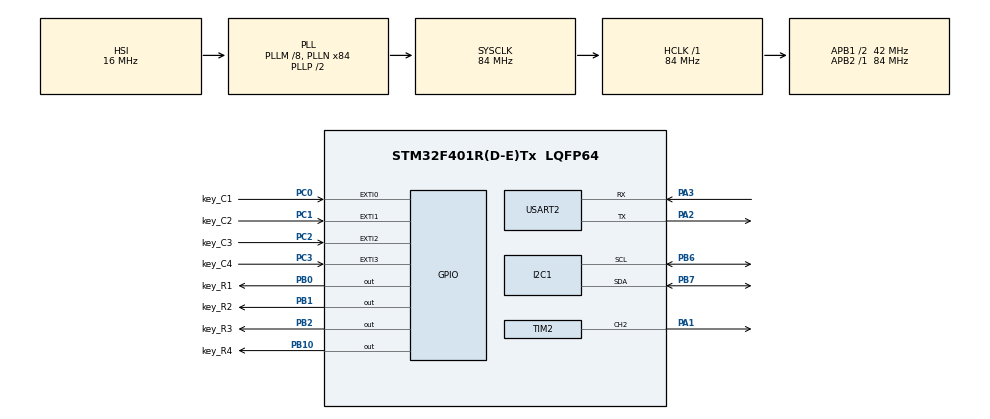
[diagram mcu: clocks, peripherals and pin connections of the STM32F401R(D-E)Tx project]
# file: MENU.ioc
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FREERTOS.BinarySemaphores01=BtnPressed,Dynamic,NULL,Depleted
FREERTOS.RecursiveMutexes01=i2cMutex,Dynamic,NULL,Available
FREERTOS.Tasks01=GetKeyTask,24,128,GetketpadTask,Default,NULL,Dynamic,NULL,NULL;rendertask,8,1024,RenderTask,Default,NULL,Dynamic,NULL,NULL
I2C1.I2C_Mode=I2C_Fast
Mcu.Family=STM32F4
Mcu.Name=STM32F401R(D-E)Tx
Mcu.Package=LQFP64
NVIC.EXTI0_IRQn=true\:5\:0\:false\:false\:true\:true\:true\:true\:true
NVIC.EXTI1_IRQn=true\:5\:0\:false\:false\:true\:true\:true\:true\:true
NVIC.EXTI2_IRQn=true\:5\:0\:false\:false\:true\:true\:true\:true\:true
NVIC.EXTI3_IRQn=true\:5\:0\:false\:false\:true\:true\:true\:true\:true
NVIC.PriorityGroup=NVIC_PRIORITYGROUP_4
PA1.Signal=S_TIM2_CH2
PA13.Mode=Serial_Wire
PA13.Signal=SYS_JTMS-SWDIO
PA14.Mode=Serial_Wire
PA14.Signal=SYS_JTCK-SWCLK
PA2.Mode=Asynchronous
PA2.Signal=USART2_TX
PA3.Mode=Asynchronous
PA3.Signal=USART2_RX
PB0.GPIO_Label=key_R1
PB0.Signal=GPIO_Output
PB1.GPIO_Label=key_R2
PB1.Signal=GPIO_Output
PB10.GPIO_Label=key_R4
PB10.Signal=GPIO_Output
PB2.GPIO_Label=key_R3
PB2.Signal=GPIO_Output
PB6.Mode=I2C
PB6.Signal=I2C1_SCL
PB7.Mode=I2C
PB7.Signal=I2C1_SDA
PC0.GPIO_Label=key_C1
PC0.GPIO_ModeDefaultEXTI=GPIO_MODE_IT_FALLING
PC0.GPIO_PuPd=GPIO_PULLUP
PC0.Signal=GPXTI0
PC1.GPIO_Label=key_C2
PC1.GPIO_ModeDefaultEXTI=GPIO_MODE_IT_FALLING
PC1.GPIO_PuPd=GPIO_PULLUP
PC1.Signal=GPXTI1
PC14-OSC32_IN.Mode=LSE-External-Oscillator
PC14-OSC32_IN.Signal=RCC_OSC32_IN
PC15-OSC32_OUT.Mode=LSE-External-Oscillator
PC15-OSC32_OUT.Signal=RCC_OSC32_OUT
PC2.GPIO_Label=key_C3
PC2.GPIO_ModeDefaultEXTI=GPIO_MODE_IT_FALLING
PC2.GPIO_PuPd=GPIO_PULLUP
PC2.Signal=GPXTI2
PC3.GPIO_Label=key_C4
PC3.GPIO_ModeDefaultEXTI=GPIO_MODE_IT_FALLING
PC3.GPIO_PuPd=GPIO_PULLUP
PC3.Signal=GPXTI3
PH0\ -\ OSC_IN.Mode=HSE-External-Oscillator
PH0\ -\ OSC_IN.Signal=RCC_OSC_IN
PH1\ -\ OSC_OUT.Mode=HSE-External-Oscillator
PH1\ -\ OSC_OUT.Signal=RCC_OSC_OUT
ProjectManager.HeapSize=0x200
ProjectManager.StackSize=0x400
ProjectManager.TargetToolchain=CMake
RCC.48MHZClocksFreq_Value=42000000
RCC.AHBFreq_Value=84000000
RCC.APB1CLKDivider=RCC_HCLK_DIV2
RCC.APB1Freq_Value=42000000
RCC.APB1TimFreq_Value=84000000
RCC.APB2Freq_Value=84000000
RCC.APB2TimFreq_Value=84000000
RCC.CortexFreq_Value=84000000
RCC.HCLKFreq_Value=84000000
RCC.HSE_VALUE=25000000
RCC.HSI_VALUE=16000000
RCC.PLLM=8
RCC.PLLN=84
RCC.RCC_RTC_Clock_Source=RCC_RTCCLKSOURCE_LSE
RCC.RCC_RTC_Clock_SourceVirtual=RCC_RTCCLKSOURCE_LSE
RCC.SYSCLKFreq_VALUE=84000000
RCC.SYSCLKSource=RCC_SYSCLKSOURCE_PLLCLK
RCC.VCOOutputFreq_Value=168000000
SH.S_TIM2_CH2.0=TIM2_CH2,PWM Generation2 CH2
TIM2.Channel-PWM\ Generation2\ CH2=TIM_CHANNEL_2
TIM2.Period=2000-1
TIM2.Prescaler=84-1
USART2.VirtualMode=VM_ASYNC
VP_FREERTOS_VS_CMSIS_V2.Mode=CMSIS_V2
VP_RTC_VS_RTC_Activate.Mode=RTC_Enabled
board=custom

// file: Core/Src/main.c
/* USER CODE BEGIN Header */
/**
  ******************************************************************************
  * @file           : main.c
  * @brief          : Main program body
  ******************************************************************************
  * @attention
  *
  * Copyright (c) 2026 STMicroelectronics.
  * All rights reserved.
  *
  * This software is licensed under terms that can be found in the LICENSE file
  * in the root directory of this software component.
  * If no LICENSE file comes with this software, it is provided AS-IS.
  *
  ******************************************************************************
  */
/* USER CODE END Header */
#include "main.h"
#include "cmsis_os.h"
#include "i2c.h"
#include "rtc.h"
#include "tim.h"
#include "usart.h"
#include "gpio.h"

/* USER CODE BEGIN Includes */
#include "oled.h"
#include "../../App/menu/menu_def.h"
/* USER CODE END Includes */

void SystemClock_Config(void);
void MX_FREERTOS_Init(void);
/* USER CODE BEGIN PFP */
void RTC_FirstTime_Config(void);
/* USER CODE END PFP */

int main(void)
{

  /* MCU Configuration--------------------------------------------------------*/

  /* Reset of all peripherals, Initializes the Flash interface and the Systick. */
  HAL_Init();

  /* Configure the system clock */
  SystemClock_Config();

  /* Initialize all configured peripherals */
  MX_GPIO_Init();
  MX_USART2_UART_Init();
  MX_I2C1_Init();
  MX_RTC_Init();
  MX_TIM2_Init();
  /* USER CODE BEGIN 2 */
  u8g2Init(oled_get());
  MenuInit();
// RTC_TimeTypeDef InitTime = {
//     .Hours   = 12,
//     .Minutes = 0,
//     .Seconds = 0
// };

// RTC_DateTypeDef InitDate = {
//     .WeekDay = RTC_WEEKDAY_WEDNESDAY,
//     .Month   = RTC_MONTH_MARCH,
//     .Date    = 11,
//     .Year    = 26
// };

// HAL_RTC_SetTime(&hrtc, &InitTime, RTC_FORMAT_BIN);
// HAL_RTC_SetDate(&hrtc, &InitDate, RTC_FORMAT_BIN);
  /* USER CODE END 2 */

  /* Init scheduler */
  osKernelInitialize();  /* Call init function for freertos objects (in cmsis_os2.c) */
  MX_FREERTOS_Init();

  /* Start scheduler */
  osKernelStart();

  /* We should never get here as control is now taken by the scheduler */

  /* Infinite loop */
  while (1)
  {

  }
}

void SystemClock_Config(void)
{
  RCC_OscInitTypeDef RCC_OscInitStruct = {0};
  RCC_ClkInitTypeDef RCC_ClkInitStruct = {0};

  /** Configure the main internal regulator output voltage
  */
  __HAL_RCC_PWR_CLK_ENABLE();
  __HAL_PWR_VOLTAGESCALING_CONFIG(PWR_REGULATOR_VOLTAGE_SCALE2);

  /** Initializes the RCC Oscillators according to the specified parameters
  * in the RCC_OscInitTypeDef structure.
  */
  RCC_OscInitStruct.OscillatorType = RCC_OSCILLATORTYPE_HSI|RCC_OSCILLATORTYPE_LSE;
  RCC_OscInitStruct.LSEState = RCC_LSE_ON;
  RCC_OscInitStruct.HSIState = RCC_HSI_ON;
  RCC_OscInitStruct.HSICalibrationValue = RCC_HSICALIBRATION_DEFAULT;
  RCC_OscInitStruct.PLL.PLLState = RCC_PLL_ON;
  RCC_OscInitStruct.PLL.PLLSource = RCC_PLLSOURCE_HSI;
  RCC_OscInitStruct.PLL.PLLM = 8;
  RCC_OscInitStruct.PLL.PLLN = 84;
  RCC_OscInitStruct.PLL.PLLP = RCC_PLLP_DIV2;
  RCC_OscInitStruct.PLL.PLLQ = 4;
  if (HAL_RCC_OscConfig(&RCC_OscInitStruct) != HAL_OK)
  {
    Error_Handler();
  }

  /** Initializes the CPU, AHB and APB buses clocks
  */
  RCC_ClkInitStruct.ClockType = RCC_CLOCKTYPE_HCLK|RCC_CLOCKTYPE_SYSCLK
                              |RCC_CLOCKTYPE_PCLK1|RCC_CLOCKTYPE_PCLK2;
  RCC_ClkInitStruct.SYSCLKSource = RCC_SYSCLKSOURCE_PLLCLK;
  RCC_ClkInitStruct.AHBCLKDivider = RCC_SYSCLK_DIV1;
  RCC_ClkInitStruct.APB1CLKDivider = RCC_HCLK_DIV2;
  RCC_ClkInitStruct.APB2CLKDivider = RCC_HCLK_DIV1;

  if (HAL_RCC_ClockConfig(&RCC_ClkInitStruct, FLASH_LATENCY_2) != HAL_OK)
  {
    Error_Handler();
  }
}

void Error_Handler(void)
{
  __disable_irq();
  while (1)
  {
  }
}

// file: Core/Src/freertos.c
/* USER CODE BEGIN Header */
/**
  ******************************************************************************
  * File Name          : freertos.c
  * Description        : Code for freertos applications
  ******************************************************************************
  * @attention
  *
  * Copyright (c) 2026 STMicroelectronics.
  * All rights reserved.
  *
  * This software is licensed under terms that can be found in the LICENSE file
  * in the root directory of this software component.
  * If no LICENSE file comes with this software, it is provided AS-IS.
  *
  ******************************************************************************
  */
/* USER CODE END Header */

#include "FreeRTOS.h"
#include "task.h"
#include "main.h"
#include "cmsis_os.h"

/* USER CODE BEGIN Includes */
#include "4x4_keypad.h"
#include "usart.h"
#include <string.h>
#include "../../App/menu/menu.h"
#include "../../App/menu/menu_render.h"
/* USER CODE END Includes */

/* USER CODE BEGIN Variables */
extern MenuContext ctx;
/* USER CODE END Variables */
/* Definitions for GetKeyTask */
osThreadId_t GetKeyTaskHandle;
const osThreadAttr_t GetKeyTask_attributes = {
  .name = "GetKeyTask",
  .stack_size = 128 * 4,
  .priority = (osPriority_t) osPriorityNormal,
};
/* Definitions for rendertask */
osThreadId_t rendertaskHandle;
const osThreadAttr_t rendertask_attributes = {
  .name = "rendertask",
  .stack_size = 1024 * 4,
  .priority = (osPriority_t) osPriorityLow,
};
/* Definitions for i2cMutex */
osMutexId_t i2cMutexHandle;
const osMutexAttr_t i2cMutex_attributes = {
  .name = "i2cMutex",
  .attr_bits = osMutexRecursive,
};
/* Definitions for BtnPressed */
osSemaphoreId_t BtnPressedHandle;
const osSemaphoreAttr_t BtnPressed_attributes = {
  .name = "BtnPressed"
};

void GetketpadTask(void *argument);
void RenderTask(void *argument);

void MX_FREERTOS_Init(void); /* (MISRA C 2004 rule 8.1) */

void MX_FREERTOS_Init(void) {

  /* Create the recursive mutex(es) */
  /* creation of i2cMutex */
  i2cMutexHandle = osMutexNew(&i2cMutex_attributes);

  /* Create the semaphores(s) */
  /* creation of BtnPressed */
  BtnPressedHandle = osSemaphoreNew(1, 0, &BtnPressed_attributes);

  /* Create the thread(s) */
  /* creation of GetKeyTask */
  GetKeyTaskHandle = osThreadNew(GetketpadTask, NULL, &GetKeyTask_attributes);

  /* creation of rendertask */
  rendertaskHandle = osThreadNew(RenderTask, NULL, &rendertask_attributes);

}

void GetketpadTask(void *argument)
{
  /* USER CODE BEGIN GetketpadTask */
  /* Infinite loop */
  for(;;)
  {
    osSemaphoreAcquire(BtnPressedHandle , osWaitForever);
    ButtonEvent evt = Keypad_GetKey();
    if(evt != 0) {
        osDelay(1);
        ctx.handle_event(&ctx,evt);
        //menu_handle_event(&ctx,evt);
        //HAL_UART_Transmit(&huart2, (uint8_t *)key, 1, HAL_MAX_DELAY);
    }
  }
  /* USER CODE END GetketpadTask */
}

void RenderTask(void *argument)
{
  /* USER CODE BEGIN RenderTask */
  /* Infinite loop */
  for(;;)
  {
    osMutexAcquire(i2cMutexHandle, osWaitForever);
    if (ctx.active_screen) {
      ctx.active_screen();
    } else if (ctx.need_redraw) {
      menu_render(&ctx);
      ctx.need_redraw = 0;
    }
    osDelay(50);
    osMutexRelease(i2cMutexHandle);
  }
  /* USER CODE END RenderTask */
}
